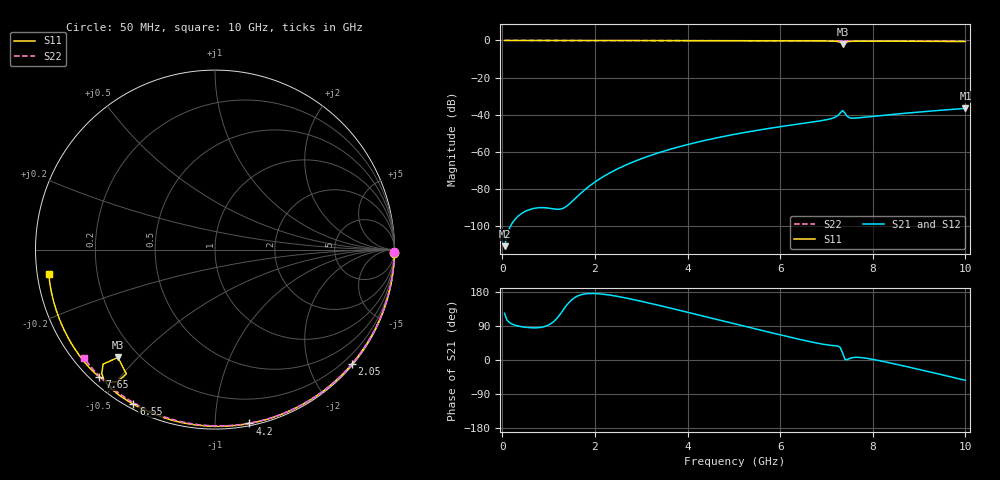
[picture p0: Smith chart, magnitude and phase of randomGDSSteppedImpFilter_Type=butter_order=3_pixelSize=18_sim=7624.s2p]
! freq	dB(S11)	phase(S11)	dB(S12)	phase(S12)
!  dB(S21)	phase(S21)	dB(S22)	phase(S22)
!S-par simulation data
#  GHz  S  DB  R 50
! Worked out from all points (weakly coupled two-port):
!   200 points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, 50 MHz to 10 GHz, reference 50 ohm
!   highest |S21| = -36.59 dB at 10 GHz (marker M1); lowest = -110.8 dB at 50 MHz (marker M2)
!   lowest |S11| = -1.8 dB at 7.35 GHz (marker M3), VSWR 9.44, Z = 6.33 - j22 ohm
!   |S11| at or under -10 dB: nowhere
!   |S22| runs from -0.5 to 0.0 dB; largest |S21 - S12| = 0
!   S11 on the Smith chart (normalised r, x): 50 MHz: open; 2.05 GHz: 0.02, -2.75; 4.2 GHz: 0.02, -1.22; 6.55 GHz: 0.02, -0.60; 7.65 GHz: 0.03, -0.44; 10 GHz: 0.03, -0.07
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0.05  -0.00 -1.0  -110.83 123.2  -110.83 123.2  -0.00 -0.8
0.85  -0.02 -16.8  -90.05 86.5  -90.05 86.5  -0.02 -13.7
1.75  -0.04 -34.2  -81.12 173.6  -81.12 173.6  -0.04 -28.0
1.8  -0.04 -35.2  -80.06 174.6  -80.06 174.6  -0.04 -28.8
2.05  -0.05 -39.9  -75.43 175.1  -75.43 175.1  -0.04 -32.6
2.65  -0.07 -51.1  -67.31 164.0  -67.31 164.0  -0.05 -41.9
3.4  -0.09 -64.8  -60.32 143.6  -60.32 143.6  -0.07 -53.2
4.2  -0.11 -78.8  -54.86 120.0  -54.86 120.0  -0.09 -64.9
5.05  -0.14 -93.2  -50.40 94.5  -50.40 94.5  -0.12 -76.8
5.8  -0.18 -105.5  -47.21 72.3  -47.21 72.3  -0.15 -87.1
6.55  -0.23 -117.8  -44.46 50.9  -44.46 50.9  -0.18 -97.0
6.7  -0.24 -120.3  -43.92 47.0  -43.92 47.0  -0.19 -98.9
7.15  -0.36 -129.1  -41.73 38.0  -41.73 38.0  -0.22 -104.7
7.3  -0.99 -134.3  -38.99 32.6  -38.99 32.6  -0.23 -106.6
7.35  -1.85 -132.0  -37.74 18.0  -37.74 18.0  -0.23 -107.3
7.4  -1.41 -125.5  -39.18 1.6  -39.18 1.6  -0.23 -107.9
7.45  -0.77 -126.4  -40.96 0.8  -40.96 0.8  -0.24 -108.5
7.5  -0.54 -128.2  -41.67 3.8  -41.67 3.8  -0.24 -109.2
7.65  -0.38 -132.2  -41.77 7.1  -41.77 7.1  -0.25 -111.1
8.35  -0.38 -144.5  -40.01 -7.1  -40.01 -7.1  -0.30 -119.8
9.2  -0.47 -158.3  -38.15 -30.6  -38.15 -30.6  -0.38 -130.4
10  -0.58 -171.8  -36.59 -53.7  -36.59 -53.7  -0.47 -140.3
